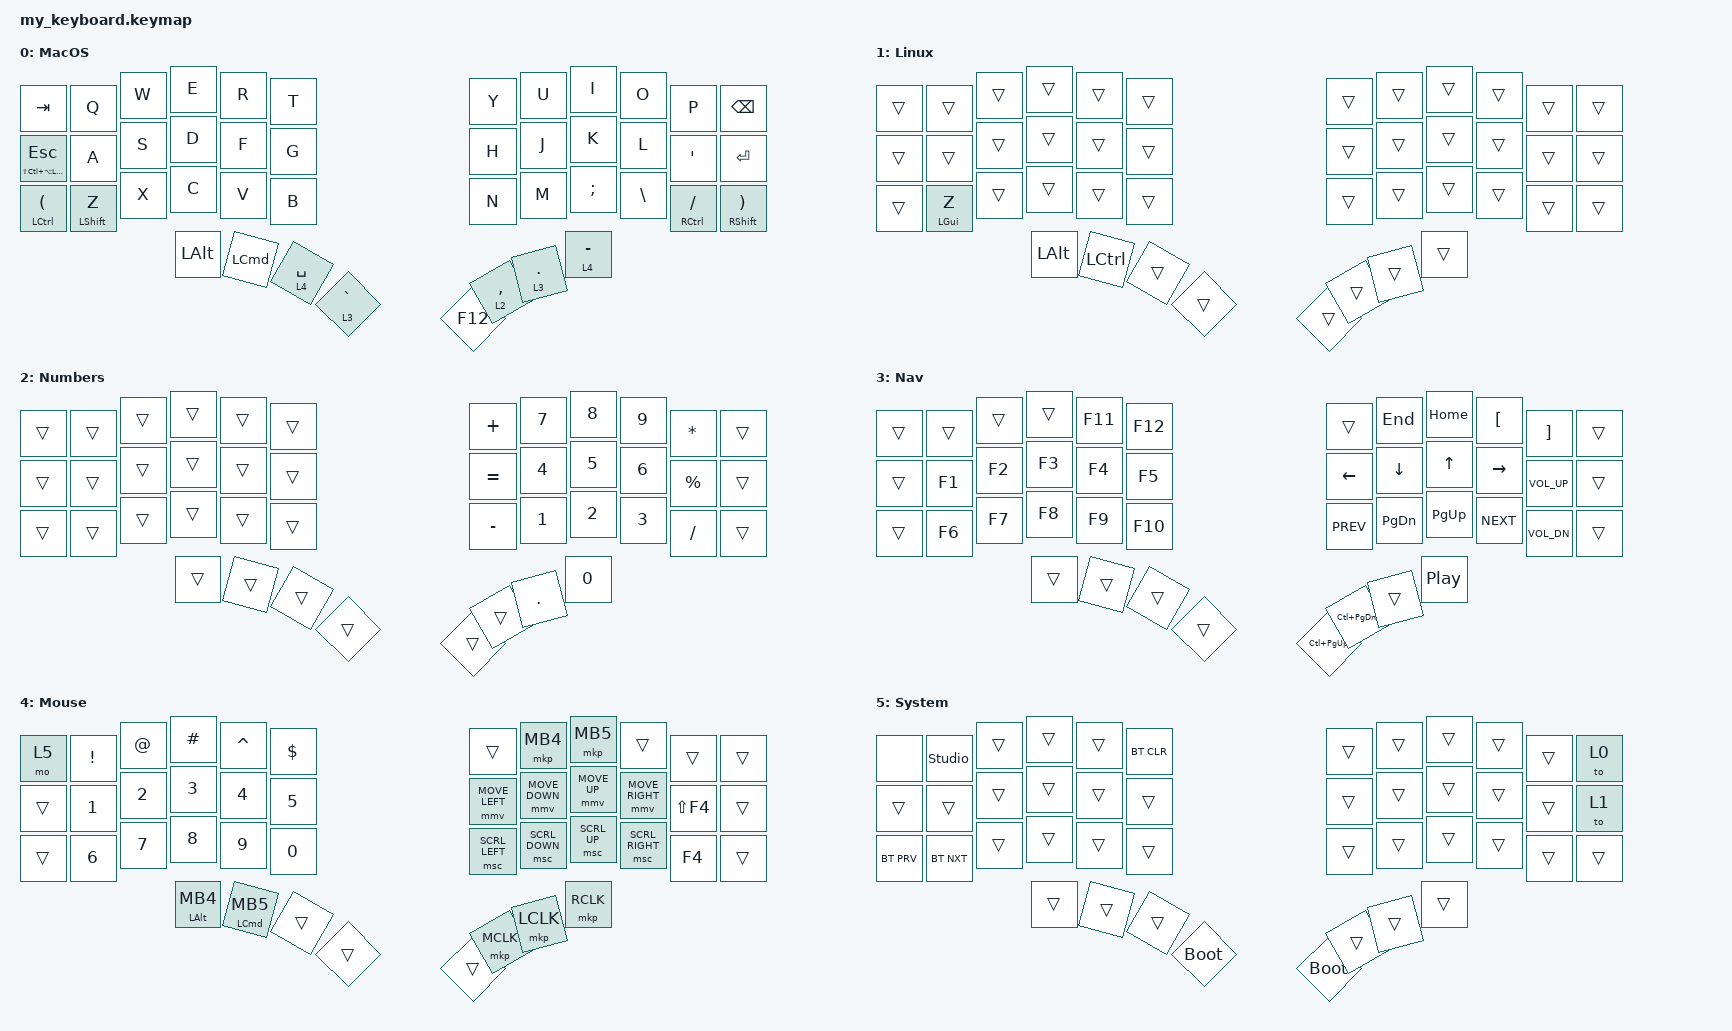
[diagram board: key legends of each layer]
#include <behaviors.dtsi>
#include <dt-bindings/zmk/keys.h>
#include <dt-bindings/zmk/bt.h>

// mouse cfg override (must come before pointing.h import)
#define ZMK_POINTING_DEFAULT_MOVE_VAL 1500  // default: 600
#define ZMK_POINTING_DEFAULT_SCRL_VAL 20    // default: 10
#include <dt-bindings/zmk/pointing.h>

#define HYPER LS(LC(LA(LGUI)))

&lt {
    tapping-term-ms = <140>;
    flavor = "tap-preferred";
};

&mt {
    tapping-term-ms = <140>;
    flavor = "tap-preferred";
};

/ {
    macros {
      hyper_space: hyper_space {
        compatible = "zmk,behavior-macro";
        #binding-cells = <0>;
        bindings = <
          &macro_press &kp LSHFT &kp LCTRL &kp LALT &kp LGUI
          &macro_tap &kp SPACE
          &macro_release &kp LGUI &kp LALT &kp LCTRL &kp LSHFT
        >;
      };
    };

    behaviors {
      lt_slow: lt_slow {
        compatible = "zmk,behavior-hold-tap";
        #binding-cells = <2>;

        flavor = "tap-preferred";
        tapping-term-ms = <220>;
        quick-tap-ms = <0>;
        require-prior-idle-ms = <0>;

        bindings = <&mo>, <&kp>;
      };

      mt_slow: mt_slow {
        compatible = "zmk,behavior-hold-tap";
        #binding-cells = <2>;

        flavor = "balanced";
        tapping-term-ms = <220>;
        quick-tap-ms = <0>;
        require-prior-idle-ms = <0>;

        bindings = <&kp>, <&kp>;
      };

      mt_mouse: mt_mouse {
        compatible = "zmk,behavior-hold-tap";
        label = "MT_MOUSE";
        #binding-cells = <2>;
        flavor = "balanced";
        tapping-term-ms = <200>;

        bindings = <&kp>, <&mkp>;
      };


    };

    combos {
        compatible = "zmk,combos";

        // ESC on fd 
        combo_esc {
            timeout-ms = <50>;
            key-positions = <15 16>;
            layers = <0 1>;
            bindings = <&kp ESC>;
        };

        // HYPER+SPACE on jk
        combo_hyperspace {
            timeout-ms = <50>;
            key-positions = <19 20>;
            layers = <0 1>;
            bindings = <&hyper_space>;
        };

        // BKSP on yu
        /* combo_bksp { */
        /*     timeout-ms = <50>; */
        /*     key-positions = <6 7>; */
        /*     layers = <0 1>; */
        /*     bindings = <&kp BKSP>; */
        /* }; */
        
        // DEL on rt
        combo_del {
            timeout-ms = <50>;
            key-positions = <4 5>;
            layers = <0 1>;
            bindings = <&kp DEL>;
        };

        // ! on qw
        combo_exclamation {
            timeout-ms = <50>;
            key-positions = <1 2>;
            layers = <0 1>;
            bindings = <&kp EXCLAMATION>;
        };


        /* // - on ui */
        /* combo_minus { */
        /*     timeout-ms = <50>; */
        /*     key-positions = <7 8>; */
        /*     layers = <0 1>; */
        /*     bindings = <&kp MINUS>; */
        /* }; */

        // + on io
        /* combo_plus { */
        /*     timeout-ms = <50>; */
        /*     key-positions = <8 9>; */
        /*     layers = <0 1>; */
        /*     bindings = <&kp PLUS>; */
        /* }; */

        // = on l'
        /* combo_eq { */
        /*     timeout-ms = <50>; */
        /*     key-positions = <21 22>; */
        /*     layers = <0 1>; */
        /*     bindings = <&kp EQUAL>; */
        /* }; */


        // &| on sd / xc
        combo_amp {
            timeout-ms = <50>;
            key-positions = <14 15>;
            layers = <0 1>;
            bindings = <&kp AMPERSAND>;
        };
        combo_pipe {
            timeout-ms = <50>;
            key-positions = <26 27>;
            layers = <0 1>;
            bindings = <&kp PIPE>;
        };


        // {} on fg / hj
        /* combo_lbrace { */
        /*     timeout-ms = <50>; */
        /*     key-positions = <16 17>; */
        /*     layers = <0 1>; */
        /*     bindings = <&kp LEFT_BRACE>; */
        /* }; */
        /* combo_rbrace { */
        /*     timeout-ms = <50>; */
        /*     key-positions = <18 19>; */
        /*     layers = <0 1>; */
        /*     bindings = <&kp RIGHT_BRACE>; */
        /* }; */


        // [] on vb / nm
        /* combo_lbracket { */
        /*     timeout-ms = <50>; */
        /*     key-positions = <28 29>; */
        /*     layers = <0 1>; */
        /*     bindings = <&kp LEFT_BRACKET>; */
        /* }; */
        /* combo_rbracket { */
        /*     timeout-ms = <50>; */
        /*     key-positions = <30 31>; */
        /*     layers = <0 1>; */
        /*     bindings = <&kp RIGHT_BRACKET>; */
        /* }; */

    };

    keymap {
        compatible = "zmk,keymap";


        default_layer {
            display-name = "MacOS";
            bindings = <
                &kp TAB            &kp Q        &kp W     &kp E    &kp R            &kp T           /*|*/      &kp Y   &kp U            &kp I           &kp O            &kp P                &kp BKSP
                &mt_slow HYPER ESC &kp A        &kp S     &kp D    &kp F            &kp G           /*|*/      &kp H   &kp J            &kp K           &kp L            &kp APOSTROPHE       &kp ENTER
                &mt LCTRL LPAR     &mt LSHIFT Z &kp X     &kp C    &kp V            &kp B           /*|*/      &kp N   &kp M            &kp SEMI        &kp BACKSLASH    &mt_slow RCTRL SLASH &mt RSHIFT RPAR
                                                 &kp LALT  &kp LCMD &lt_slow 4 SPACE &lt 3 GRAVE     /*|*/      &kp F12 &lt 2 COMMA      &lt 3 DOT       &lt_slow 4 MINUS
            >;
        };

        linux_1 {
            display-name = "Linux";
            bindings = <
                &trans &trans     &trans   &trans    &trans &trans    &trans &trans &trans &trans &trans &trans
                &trans &trans     &trans   &trans    &trans &trans    &trans &trans &trans &trans &trans &trans
                &trans &mt LGUI Z &trans   &trans    &trans &trans    &trans &trans &trans &trans &trans &trans
                                  &kp LALT &kp LCTRL &trans &trans    &trans &trans &trans &trans
            >;
        };

        numbers_2 {
            display-name = "Numbers";
            bindings = <
                &trans &trans &trans &trans  &trans &trans   /*|*/   &kp PLUS      &kp N7 &kp N8  &kp N9 &kp ASTERISK &trans
                &trans &trans &trans &trans  &trans &trans   /*|*/   &kp EQUAL     &kp N4 &kp N5  &kp N6 &kp PERCENT  &trans
                &trans &trans &trans &trans  &trans &trans   /*|*/   &kp MINUS     &kp N1 &kp N2  &kp N3 &kp SLASH    &trans
                              &trans &trans  &trans &trans   /*|*/   &trans        &trans &kp DOT &kp N0
            >;
        };

        nav_3 {
            display-name = "Nav";
            bindings = <
                &trans &trans  &trans &trans &kp F11 &kp F12   /*|*/  &trans        &kp END       &kp HOME  &kp LEFT_BRACKET &kp RIGHT_BRACKET &trans
                &trans &kp F1  &kp F2 &kp F3 &kp F4  &kp F5    /*|*/  &kp LEFT      &kp DOWN      &kp UP    &kp RIGHT        &kp C_VOL_UP      &trans
                &trans &kp F6  &kp F7 &kp F8 &kp F9  &kp F10   /*|*/  &kp C_PREV    &kp PG_DN     &kp PG_UP &kp C_NEXT       &kp C_VOL_DN      &trans
                               &trans &trans &trans  &trans    /*|*/  &kp LC(PG_UP) &kp LC(PG_DN) &trans    &kp C_PLAY_PAUSE
            >;

        };

        mouse_4 {
            display-name = "Mouse";
            bindings = <
                &mo 5  &kp EXCLAMATION &kp AT_SIGN         &kp HASH            &kp CARET  &kp DOLLAR       /*|*/   &trans         &mkp MB4       &mkp MB5       &trans          &trans &trans
                &trans &kp N1          &kp N2              &kp N3              &kp N4     &kp N5           /*|*/   &mmv MOVE_LEFT &mmv MOVE_DOWN &mmv MOVE_UP   &mmv MOVE_RIGHT &kp LS(F4) &trans
                &trans &kp N6          &kp N7              &kp N8              &kp N9     &kp N0           /*|*/   &msc SCRL_LEFT &msc SCRL_DOWN &msc SCRL_UP   &msc SCRL_RIGHT &kp F4     &trans
                                       &mt_mouse LALT MB4  &mt_mouse LCMD MB5  &trans     &trans           /*|*/   &trans         &mkp MCLK      &mkp LCLK      &mkp RCLK
            >;
        };

        /* only reacheable via layer 4*/
        system_5 {
            display-name = "System";
            bindings = <
                &none      &studio_unlock  &trans &trans &trans &bt BT_CLR          /*|*/      &trans      &trans &trans &trans &trans &to 0
                &trans     &trans          &trans &trans &trans &trans              /*|*/      &trans      &trans &trans &trans &trans &to 1
                &bt BT_PRV &bt BT_NXT      &trans &trans &trans &trans              /*|*/      &trans      &trans &trans &trans &trans &trans
                                           &trans &trans &trans &bootloader         /*|*/      &bootloader &trans &trans &trans
            >;
        };
        
        layer_6 {
            status = "reserved";
        };

        layer_7 {
            status = "reserved";
        };
        
        layer_8 {
            status = "reserved";
        };

        layer_9 {
            status = "reserved";
        };
        
        layer_10 {
            status = "reserved";
            /* bindings = < */
            /*     &trans &trans &trans &trans &trans &trans    &trans &trans &trans &trans &trans &trans */
            /*     &trans &trans &trans &trans &trans &trans    &trans &trans &trans &trans &trans &trans */
            /*     &trans &trans &trans &trans &trans &trans    &trans &trans &trans &trans &trans &trans */
            /*                   &trans &trans &trans &trans    &trans &trans &trans &trans */
            /* >; */
        };
    };
};
